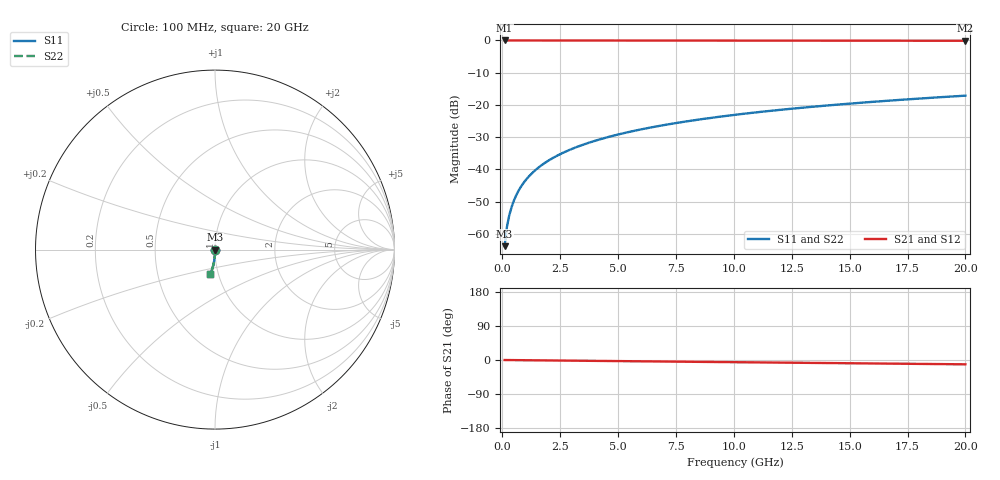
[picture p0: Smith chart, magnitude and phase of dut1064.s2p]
! Touchstone file exported from HFSS 2026.1.0
!  File:  C:/ffzhzh/LocalFiles/Ansys_Project_Files/temp_train_TSV_1064_1783189766_51560.aedt
!  Generated:  02:30:35 AM Jul  5, 2026
!  Design:  TSV
!  Project:  temp_train_TSV_1064_1783189766_51560
! Variables:
!  h_bsmrdl = 2um
!  h_ox = 20um
!  h_rdl = 5um
!  h_sub = 88.31um
!  h_tmrdl = 5um
!  h_tsv = 88.31um
!  h_via = 3um
!  l_bsmrdl = 300um
!  l_sub = 423.98um
!  l_tmrdl = 200um
!  m_sub = 200um
!  pitch = 27.65um
!  r_tsv = 11.99um
!  s_tmrdl = 10um
!  w_bsmrdl = 18um
!  w_sub = 500um
!  w_tmrdl = 12um
!  x_tsv_center1 = 206um
!  x_tsv_center2 = 524um
!  x_tsv_center3 = 736um
!  x_tsv_center4 = 1054um
!  x_tsv_center5 = 1266um
!  x_tsv_center6 = 1584um
# GHz S MA R 50.000000
! Terminal data exported
! Port[1] = TSV1_1_T1
! Port[2] = TSV1_1_T2
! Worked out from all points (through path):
!   200 points, 100 MHz to 20 GHz, reference 50 ohm
!   highest |S21| = 0.00 dB at 100 MHz (marker M1); lowest = -0.1 dB at 20 GHz (marker M2)
!   group delay of S21, straight-line fit = 1.58 ps
!   lowest |S11| = -63.8 dB at 100 MHz (marker M3), VSWR 1.00, Z = 50 - j0.0634 ohm
!   |S11| at or under -10 dB: start of sweep to end of sweep
!   |S22| runs from -63.8 to -17.1 dB; largest |S21 - S12| = 2.6e-15
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0.1  0.0006461 -78.8  0.9999 -0.1  0.9999 -0.1  0.0006461 -78.8
! Gamma 0 0 0 0
! Port Impedance 50 0 50 0
0.2  0.001284 -83.3  0.9998 -0.1  0.9998 -0.1  0.001284 -83.3
0.3  0.001937 -84.6  0.9998 -0.2  0.9998 -0.2  0.001937 -84.6
0.4  0.002604 -85.2  0.9998 -0.2  0.9998 -0.2  0.002604 -85.2
0.5  0.003283 -85.6  0.9997 -0.3  0.9997 -0.3  0.003283 -85.6
0.7  0.004663 -86.2  0.9996 -0.4  0.9996 -0.4  0.004663 -86.2
0.8  0.005359 -86.5  0.9996 -0.5  0.9996 -0.5  0.005359 -86.5
1  0.006759 -87.0  0.9996 -0.6  0.9996 -0.6  0.006759 -87.0
1.2  0.00816 -87.5  0.9995 -0.7  0.9995 -0.7  0.00816 -87.5
1.4  0.009562 -87.9  0.9995 -0.8  0.9995 -0.8  0.009562 -87.9
1.7  0.01166 -88.4  0.9994 -1.0  0.9994 -1.0  0.01166 -88.4
2  0.01377 -88.8  0.9993 -1.2  0.9993 -1.2  0.01377 -88.8
2.7  0.01867 -89.6  0.9992 -1.6  0.9992 -1.6  0.01867 -89.6
3.5  0.02428 -90.3  0.999 -2.0  0.999 -2.0  0.02428 -90.3
4.2  0.02919 -90.9  0.9988 -2.4  0.9988 -2.4  0.02919 -90.9
5  0.03481 -91.4  0.9985 -2.9  0.9985 -2.9  0.03481 -91.4
6.8  0.04748 -92.7  0.9978 -3.9  0.9978 -3.9  0.04748 -92.7
8.3  0.05803 -93.6  0.9972 -4.8  0.9972 -4.8  0.05803 -93.6
10.1  0.07067 -94.8  0.9962 -5.8  0.9962 -5.8  0.07067 -94.8
13.4  0.09373 -96.8  0.9941 -7.7  0.9941 -7.7  0.09373 -96.8
16.7  0.1166 -98.7  0.9915 -9.5  0.9915 -9.5  0.1166 -98.7
20  0.1393 -100.6  0.9884 -11.4  0.9884 -11.4  0.1393 -100.6
